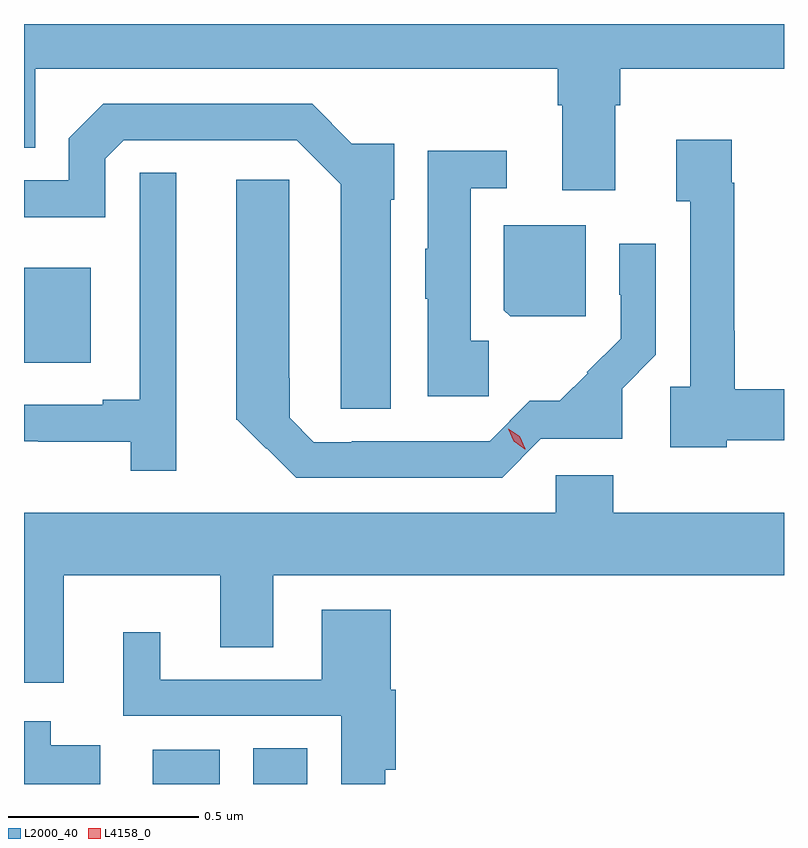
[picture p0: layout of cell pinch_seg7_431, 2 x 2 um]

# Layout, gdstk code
import gdstk
lib = gdstk.Library(unit=1e-6, precision=1e-09)
def R(c, l, rs):  # rectangles x0, y0, x1, y1
    for r in rs: c.add(gdstk.rectangle(r[:2], r[2:], *l))
def P(c, l, *ps):  # polygons
    for p in ps: c.add(gdstk.Polygon(p, *l))
L2000_40 = (2000, 40)
L4158_0 = (4158, 0)

pinch_seg7_431 = lib.new_cell('pinch_seg7_431')
R(pinch_seg7_431, L2000_40, [(534.272,1012.054,534.448,1012.144), (534.536,1012.054,534.679,1012.148), (533.933,1013.162,534.109,1013.413)])
P(pinch_seg7_431, L2000_40, [(535.489,1013.84),(535.502,1013.84),(535.502,1013.936),(535.933,1013.936),(535.933,1014.054),(533.933,1014.054),(533.933,1013.728),(533.962,1013.728),(533.962,1013.936),(535.337,1013.936),(535.337,1013.84),(535.349,1013.84),(535.349,1013.616),(535.489,1013.616)],
  [(534.898,1013.592),(534.907,1013.592),(534.907,1013.739),(534.796,1013.739),(534.691,1013.844),(534.141,1013.844),(534.051,1013.754),(534.051,1013.643),(533.933,1013.643),(533.933,1013.546),(534.147,1013.546),(534.147,1013.7),(534.195,1013.748),(534.651,1013.748),(534.767,1013.632),(534.767,1013.041),(534.898,1013.041)],
  [(535.782,1012.958),(535.933,1012.958),(535.933,1013.093),(535.804,1013.093),(535.804,1013.247),(535.802,1013.247),(535.802,1013.636),(535.795,1013.636),(535.795,1013.749),(535.649,1013.749),(535.649,1013.588),(535.686,1013.588),(535.686,1013.1),(535.634,1013.1),(535.634,1012.94),(535.782,1012.94)],
  [(535.156,1013.22),(535.108,1013.22),(535.108,1013.622),(535.204,1013.622),(535.204,1013.72),(534.995,1013.72),(534.995,1013.463),(534.989,1013.463),(534.989,1013.331),(534.995,1013.331),(534.995,1013.075),(535.156,1013.075)],
  [(534.334,1013.663),(534.237,1013.663),(534.237,1013.065),(534.14,1013.065),(534.14,1013.052),(533.933,1013.052),(533.933,1012.956),(533.971,1012.956),(533.971,1012.955),(534.214,1012.955),(534.214,1012.878),(534.334,1012.878)],
  [(535.293,1012.962),(535.507,1012.962),(535.507,1013.094),(535.596,1013.183),(535.596,1013.476),(535.5,1013.476),(535.5,1013.342),(535.503,1013.342),(535.503,1013.226),(535.414,1013.137),(535.416,1013.135),(535.343,1013.062),(535.264,1013.062),(535.158,1012.956),(534.796,1012.956),(534.796,1012.953),(534.696,1012.953),(534.632,1013.018),(534.632,1013.122),(534.631,1013.122),(534.631,1013.644),(534.491,1013.644),(534.491,1013.013),(534.494,1013.013),(534.571,1012.936),(534.572,1012.937),(534.65,1012.86),(535.191,1012.86)],
  [(535.411,1013.524),(535.196,1013.524),(535.196,1013.301),(535.212,1013.285),(535.411,1013.285)],
  [(534.037,1012.604),(534.449,1012.604),(534.449,1012.414),(534.589,1012.414),(534.589,1012.604),(535.933,1012.604),(535.933,1012.768),(535.484,1012.768),(535.484,1012.866),(535.332,1012.866),(535.332,1012.768),(533.933,1012.768),(533.933,1012.32),(534.037,1012.32)],
  [(534.884,1012.091),(534.911,1012.091),(534.911,1012.302),(534.898,1012.302),(534.898,1012.513),(534.716,1012.513),(534.716,1012.329),(534.292,1012.329),(534.292,1012.453),(534.194,1012.453),(534.194,1012.233),(534.768,1012.233),(534.768,1012.054),(534.884,1012.054)],
  [(534.133,1012.156),(534.004,1012.156),(534.004,1012.219),(533.933,1012.219),(533.933,1012.054),(534.133,1012.054)])
P(pinch_seg7_431, L4158_0, [(535.251,1012.935),(535.222,1012.956),(535.207,1012.989),(535.207,1012.989),(535.207,1012.989),(535.237,1012.969),(535.252,1012.936),(535.252,1012.935)])

lib.write_gds('pinch_seg7_431.gds')
